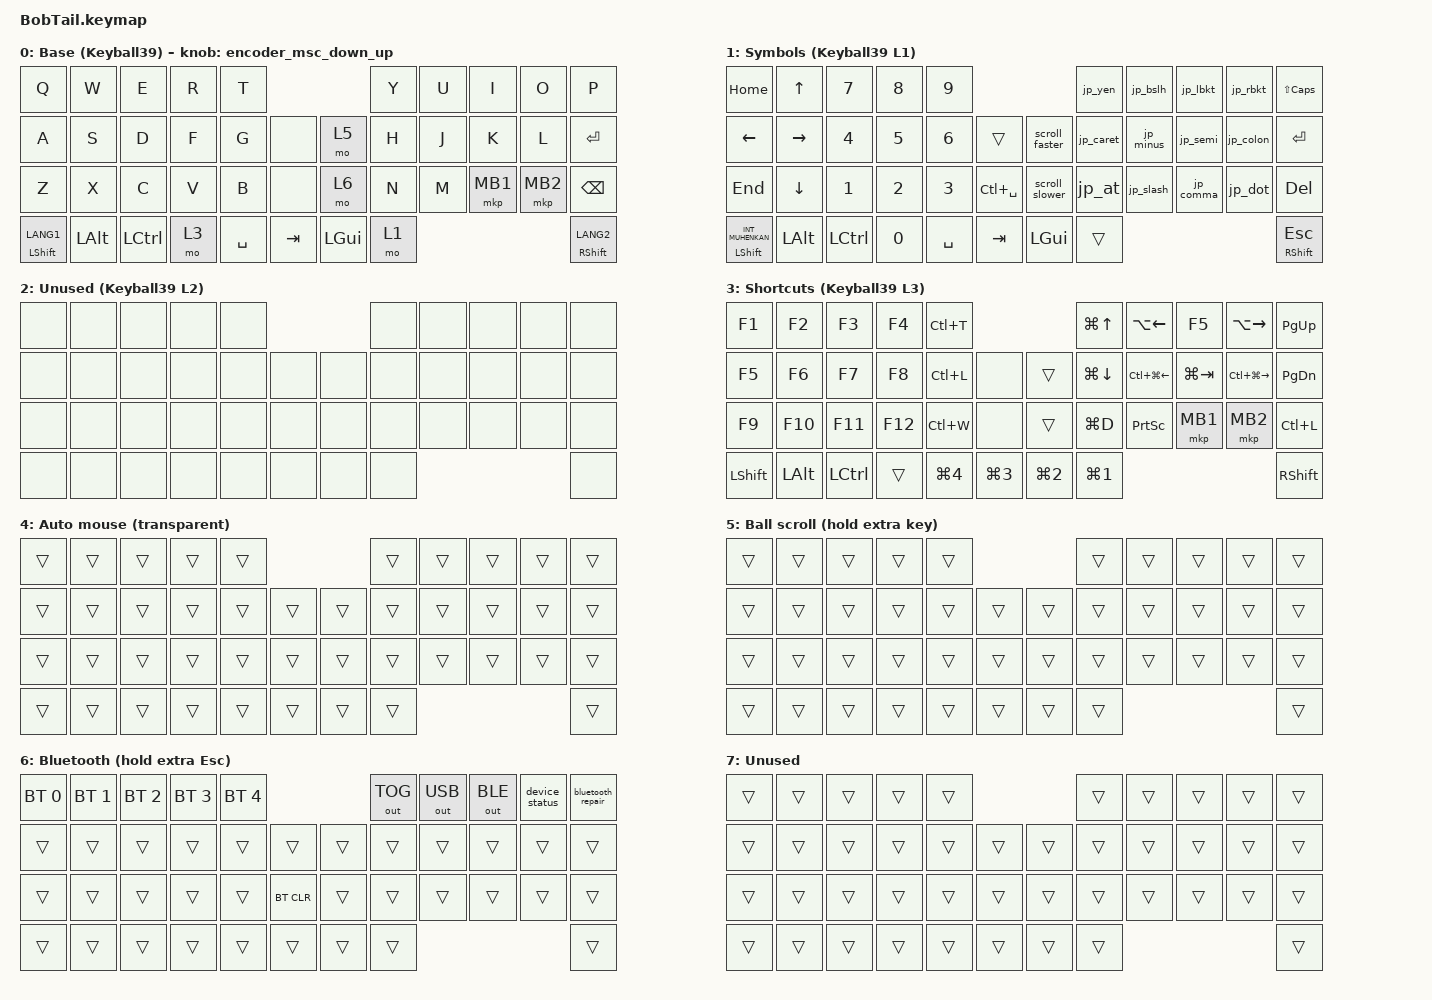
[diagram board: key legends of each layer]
#include <behaviors.dtsi>
#include <dt-bindings/zmk/bt.h>
#include <dt-bindings/zmk/keys.h>
#include <dt-bindings/zmk/outputs.h>
#include <dt-bindings/zmk/pointing.h>

#define ZMK_POINTING_DEFAULT_SCRL_VAL 80

&mt {
    // Thumb Shift keys: prefer holding when another key is pressed.

    flavor = "hold-preferred";
    tapping-term-ms = <200>;
    quick-tap-ms = <0>;
};

/ {
    // JIS symbols are named macros so Keymap Editor can select them.
    // Each macro holds its key until physical release (including OS repeat).

    macros {
        device_status: device_status {
            compatible = "zmk,behavior-macro";
            label = "Device Status Text";
            #binding-cells = <0>;
            wait-ms = <0>;
            tap-ms = <0>;
            bindings = <&device_diagnostics 0>;
        };

        bluetooth_repair: bluetooth_repair {
            compatible = "zmk,behavior-macro";
            label = "Re-pair Selected Bluetooth Slot";
            #binding-cells = <0>;
            wait-ms = <0>;
            tap-ms = <0>;
            bindings = <&device_diagnostics 2>;
        };

        scroll_faster: scroll_faster {
            compatible = "zmk,behavior-macro";
            label = "Ball Scroll Faster";
            #binding-cells = <0>;
            wait-ms = <0>;
            tap-ms = <0>;
            bindings = <&scroll_speed 1>;
        };

        scroll_slower: scroll_slower {
            compatible = "zmk,behavior-macro";
            label = "Ball Scroll Slower";
            #binding-cells = <0>;
            wait-ms = <0>;
            tap-ms = <0>;
            bindings = <&scroll_speed 0>;
        };

        jp_excl: JIS_EXCL {
            compatible = "zmk,behavior-macro";
            label = "JIS !";
            #binding-cells = <0>;
            wait-ms = <0>;
            tap-ms = <0>;
            bindings =
                <&macro_press>,
                <&kp LS(N1)>,
                <&macro_pause_for_release>,
                <&macro_release>,
                <&kp LS(N1)>;
        };

        jp_dqt: JIS_DQT {
            compatible = "zmk,behavior-macro";
            label = "JIS Double Quote";
            #binding-cells = <0>;
            wait-ms = <0>;
            tap-ms = <0>;
            bindings =
                <&macro_press>,
                <&kp LS(N2)>,
                <&macro_pause_for_release>,
                <&macro_release>,
                <&kp LS(N2)>;
        };

        jp_hash: JIS_HASH {
            compatible = "zmk,behavior-macro";
            label = "JIS #";
            #binding-cells = <0>;
            wait-ms = <0>;
            tap-ms = <0>;
            bindings =
                <&macro_press>,
                <&kp LS(N3)>,
                <&macro_pause_for_release>,
                <&macro_release>,
                <&kp LS(N3)>;
        };

        jp_dllr: JIS_DLLR {
            compatible = "zmk,behavior-macro";
            label = "JIS $";
            #binding-cells = <0>;
            wait-ms = <0>;
            tap-ms = <0>;
            bindings =
                <&macro_press>,
                <&kp LS(N4)>,
                <&macro_pause_for_release>,
                <&macro_release>,
                <&kp LS(N4)>;
        };

        jp_prcnt: JIS_PRCNT {
            compatible = "zmk,behavior-macro";
            label = "JIS %";
            #binding-cells = <0>;
            wait-ms = <0>;
            tap-ms = <0>;
            bindings =
                <&macro_press>,
                <&kp LS(N5)>,
                <&macro_pause_for_release>,
                <&macro_release>,
                <&kp LS(N5)>;
        };

        jp_amps: JIS_AMPS {
            compatible = "zmk,behavior-macro";
            label = "JIS &";
            #binding-cells = <0>;
            wait-ms = <0>;
            tap-ms = <0>;
            bindings =
                <&macro_press>,
                <&kp LS(N6)>,
                <&macro_pause_for_release>,
                <&macro_release>,
                <&kp LS(N6)>;
        };

        jp_sqt: JIS_SQT {
            compatible = "zmk,behavior-macro";
            label = "JIS '";
            #binding-cells = <0>;
            wait-ms = <0>;
            tap-ms = <0>;
            bindings =
                <&macro_press>,
                <&kp LS(N7)>,
                <&macro_pause_for_release>,
                <&macro_release>,
                <&kp LS(N7)>;
        };

        jp_lpar: JIS_LPAR {
            compatible = "zmk,behavior-macro";
            label = "JIS (";
            #binding-cells = <0>;
            wait-ms = <0>;
            tap-ms = <0>;
            bindings =
                <&macro_press>,
                <&kp LS(N8)>,
                <&macro_pause_for_release>,
                <&macro_release>,
                <&kp LS(N8)>;
        };

        jp_rpar: JIS_RPAR {
            compatible = "zmk,behavior-macro";
            label = "JIS )";
            #binding-cells = <0>;
            wait-ms = <0>;
            tap-ms = <0>;
            bindings =
                <&macro_press>,
                <&kp LS(N9)>,
                <&macro_pause_for_release>,
                <&macro_release>,
                <&kp LS(N9)>;
        };

        jp_astrk: JIS_ASTRK {
            compatible = "zmk,behavior-macro";
            label = "JIS *";
            #binding-cells = <0>;
            wait-ms = <0>;
            tap-ms = <0>;
            bindings =
                <&macro_press>,
                <&kp LS(SINGLE_QUOTE)>,
                <&macro_pause_for_release>,
                <&macro_release>,
                <&kp LS(SINGLE_QUOTE)>;
        };

        jp_plus: JIS_PLUS {
            compatible = "zmk,behavior-macro";
            label = "JIS +";
            #binding-cells = <0>;
            wait-ms = <0>;
            tap-ms = <0>;
            bindings =
                <&macro_press>,
                <&kp LS(SEMICOLON)>,
                <&macro_pause_for_release>,
                <&macro_release>,
                <&kp LS(SEMICOLON)>;
        };

        jp_comma: JIS_COMMA {
            compatible = "zmk,behavior-macro";
            label = "JIS ,";
            #binding-cells = <0>;
            wait-ms = <0>;
            tap-ms = <0>;
            bindings =
                <&macro_press>,
                <&kp COMMA>,
                <&macro_pause_for_release>,
                <&macro_release>,
                <&kp COMMA>;
        };

        jp_minus: JIS_MINUS {
            compatible = "zmk,behavior-macro";
            label = "JIS -";
            #binding-cells = <0>;
            wait-ms = <0>;
            tap-ms = <0>;
            bindings =
                <&macro_press>,
                <&kp MINUS>,
                <&macro_pause_for_release>,
                <&macro_release>,
                <&kp MINUS>;
        };

        jp_dot: JIS_DOT {
            compatible = "zmk,behavior-macro";
            label = "JIS .";
            #binding-cells = <0>;
            wait-ms = <0>;
            tap-ms = <0>;
            bindings =
                <&macro_press>,
                <&kp DOT>,
                <&macro_pause_for_release>,
                <&macro_release>,
                <&kp DOT>;
        };

        jp_slash: JIS_SLASH {
            compatible = "zmk,behavior-macro";
            label = "JIS /";
            #binding-cells = <0>;
            wait-ms = <0>;
            tap-ms = <0>;
            bindings =
                <&macro_press>,
                <&kp SLASH>,
                <&macro_pause_for_release>,
                <&macro_release>,
                <&kp SLASH>;
        };

        jp_colon: JIS_COLON {
            compatible = "zmk,behavior-macro";
            label = "JIS :";
            #binding-cells = <0>;
            wait-ms = <0>;
            tap-ms = <0>;
            bindings =
                <&macro_press>,
                <&kp SINGLE_QUOTE>,
                <&macro_pause_for_release>,
                <&macro_release>,
                <&kp SINGLE_QUOTE>;
        };

        jp_semi: JIS_SEMI {
            compatible = "zmk,behavior-macro";
            label = "JIS ;";
            #binding-cells = <0>;
            wait-ms = <0>;
            tap-ms = <0>;
            bindings =
                <&macro_press>,
                <&kp SEMICOLON>,
                <&macro_pause_for_release>,
                <&macro_release>,
                <&kp SEMICOLON>;
        };

        jp_lt: JIS_LT {
            compatible = "zmk,behavior-macro";
            label = "JIS <";
            #binding-cells = <0>;
            wait-ms = <0>;
            tap-ms = <0>;
            bindings =
                <&macro_press>,
                <&kp LS(COMMA)>,
                <&macro_pause_for_release>,
                <&macro_release>,
                <&kp LS(COMMA)>;
        };

        jp_equal: JIS_EQUAL {
            compatible = "zmk,behavior-macro";
            label = "JIS =";
            #binding-cells = <0>;
            wait-ms = <0>;
            tap-ms = <0>;
            bindings =
                <&macro_press>,
                <&kp LS(MINUS)>,
                <&macro_pause_for_release>,
                <&macro_release>,
                <&kp LS(MINUS)>;
        };

        jp_gt: JIS_GT {
            compatible = "zmk,behavior-macro";
            label = "JIS >";
            #binding-cells = <0>;
            wait-ms = <0>;
            tap-ms = <0>;
            bindings =
                <&macro_press>,
                <&kp LS(DOT)>,
                <&macro_pause_for_release>,
                <&macro_release>,
                <&kp LS(DOT)>;
        };

        jp_qmark: JIS_QMARK {
            compatible = "zmk,behavior-macro";
            label = "JIS ?";
            #binding-cells = <0>;
            wait-ms = <0>;
            tap-ms = <0>;
            bindings =
                <&macro_press>,
                <&kp LS(SLASH)>,
                <&macro_pause_for_release>,
                <&macro_release>,
                <&kp LS(SLASH)>;
        };

        jp_at: JIS_AT {
            compatible = "zmk,behavior-macro";
            label = "JIS @";
            #binding-cells = <0>;
            wait-ms = <0>;
            tap-ms = <0>;
            bindings =
                <&macro_press>,
                <&kp LEFT_BRACKET>,
                <&macro_pause_for_release>,
                <&macro_release>,
                <&kp LEFT_BRACKET>;
        };

        jp_lbkt: JIS_LBKT {
            compatible = "zmk,behavior-macro";
            label = "JIS [";
            #binding-cells = <0>;
            wait-ms = <0>;
            tap-ms = <0>;
            bindings =
                <&macro_press>,
                <&kp RIGHT_BRACKET>,
                <&macro_pause_for_release>,
                <&macro_release>,
                <&kp RIGHT_BRACKET>;
        };

        jp_bslh: JIS_BSLH {
            compatible = "zmk,behavior-macro";
            label = "JIS Backslash";
            #binding-cells = <0>;
            wait-ms = <0>;
            tap-ms = <0>;
            bindings =
                <&macro_press>,
                <&kp INT1>,
                <&macro_pause_for_release>,
                <&macro_release>,
                <&kp INT1>;
        };

        jp_rbkt: JIS_RBKT {
            compatible = "zmk,behavior-macro";
            label = "JIS ]";
            #binding-cells = <0>;
            wait-ms = <0>;
            tap-ms = <0>;
            bindings =
                <&macro_press>,
                <&kp NON_US_HASH>,
                <&macro_pause_for_release>,
                <&macro_release>,
                <&kp NON_US_HASH>;
        };

        jp_caret: JIS_CARET {
            compatible = "zmk,behavior-macro";
            label = "JIS ^";
            #binding-cells = <0>;
            wait-ms = <0>;
            tap-ms = <0>;
            bindings =
                <&macro_press>,
                <&kp EQUAL>,
                <&macro_pause_for_release>,
                <&macro_release>,
                <&kp EQUAL>;
        };

        jp_under: JIS_UNDER {
            compatible = "zmk,behavior-macro";
            label = "JIS _";
            #binding-cells = <0>;
            wait-ms = <0>;
            tap-ms = <0>;
            bindings =
                <&macro_press>,
                <&kp LS(INT1)>,
                <&macro_pause_for_release>,
                <&macro_release>,
                <&kp LS(INT1)>;
        };

        jp_grave: JIS_GRAVE {
            compatible = "zmk,behavior-macro";
            label = "JIS `";
            #binding-cells = <0>;
            wait-ms = <0>;
            tap-ms = <0>;
            bindings =
                <&macro_press>,
                <&kp LS(LEFT_BRACKET)>,
                <&macro_pause_for_release>,
                <&macro_release>,
                <&kp LS(LEFT_BRACKET)>;
        };

        jp_lbrc: JIS_LBRC {
            compatible = "zmk,behavior-macro";
            label = "JIS {";
            #binding-cells = <0>;
            wait-ms = <0>;
            tap-ms = <0>;
            bindings =
                <&macro_press>,
                <&kp LS(RIGHT_BRACKET)>,
                <&macro_pause_for_release>,
                <&macro_release>,
                <&kp LS(RIGHT_BRACKET)>;
        };

        jp_pipe: JIS_PIPE {
            compatible = "zmk,behavior-macro";
            label = "JIS |";
            #binding-cells = <0>;
            wait-ms = <0>;
            tap-ms = <0>;
            bindings =
                <&macro_press>,
                <&kp LS(INT3)>,
                <&macro_pause_for_release>,
                <&macro_release>,
                <&kp LS(INT3)>;
        };

        jp_rbrc: JIS_RBRC {
            compatible = "zmk,behavior-macro";
            label = "JIS }";
            #binding-cells = <0>;
            wait-ms = <0>;
            tap-ms = <0>;
            bindings =
                <&macro_press>,
                <&kp LS(NON_US_HASH)>,
                <&macro_pause_for_release>,
                <&macro_release>,
                <&kp LS(NON_US_HASH)>;
        };

        jp_tilde: JIS_TILDE {
            compatible = "zmk,behavior-macro";
            label = "JIS ~";
            #binding-cells = <0>;
            wait-ms = <0>;
            tap-ms = <0>;
            bindings =
                <&macro_press>,
                <&kp LS(EQUAL)>,
                <&macro_pause_for_release>,
                <&macro_release>,
                <&kp LS(EQUAL)>;
        };

        jp_yen: JIS_YEN {
            compatible = "zmk,behavior-macro";
            label = "JIS Yen";
            #binding-cells = <0>;
            wait-ms = <0>;
            tap-ms = <0>;
            bindings =
                <&macro_press>,
                <&kp INT3>,
                <&macro_pause_for_release>,
                <&macro_release>,
                <&kp INT3>;
        };

        jp_henkan: JIS_HENKAN {
            compatible = "zmk,behavior-macro";
            label = "JIS Henkan";
            #binding-cells = <0>;
            wait-ms = <0>;
            tap-ms = <0>;
            bindings =
                <&macro_press>,
                <&kp INT4>,
                <&macro_pause_for_release>,
                <&macro_release>,
                <&kp INT4>;
        };

        jp_muhenkan: JIS_MUHENKAN {
            compatible = "zmk,behavior-macro";
            label = "JIS Muhenkan";
            #binding-cells = <0>;
            wait-ms = <0>;
            tap-ms = <0>;
            bindings =
                <&macro_press>,
                <&kp INT5>,
                <&macro_pause_for_release>,
                <&macro_release>,
                <&kp INT5>;
        };

        jp_kana: JIS_KANA {
            compatible = "zmk,behavior-macro";
            label = "JIS Kana";
            #binding-cells = <0>;
            wait-ms = <0>;
            tap-ms = <0>;
            bindings =
                <&macro_press>,
                <&kp INT2>,
                <&macro_pause_for_release>,
                <&macro_release>,
                <&kp INT2>;
        };

        jp_zkhk: JIS_ZKHK {
            compatible = "zmk,behavior-macro";
            label = "JIS Zenkaku/Hankaku";
            #binding-cells = <0>;
            wait-ms = <0>;
            tap-ms = <0>;
            bindings =
                <&macro_press>,
                <&kp GRAVE>,
                <&macro_pause_for_release>,
                <&macro_release>,
                <&kp GRAVE>;
        };
    };

    behaviors {
        hold_ctrl_space: hold_ctrl_space {
            compatible = "zmk,behavior-hold-tap";
            label = "Hold Ctrl Space / Tap None";
            #binding-cells = <2>;
            flavor = "tap-preferred";
            tapping-term-ms = <200>;
            quick-tap-ms = <0>;
            bindings = <&kp>, <&none>;
        };

        device_diagnostics: device_diagnostics {
            compatible = "bobtail,behavior-device-diagnostics";
            label = "Device Diagnostics";
            #binding-cells = <1>;
        };

        scroll_speed: scroll_speed {
            compatible = "bobtail,behavior-scroll-speed";
            label = "Ball Scroll Speed";
            #binding-cells = <1>;
        };

        encoder_msc_down_up: encoder_msc_down_up {
            compatible = "zmk,behavior-sensor-rotate";
            label = "ENCODER_MSC_DOWN_UP";
            #sensor-binding-cells = <0>;
            bindings = <&msc SCRL_UP>, <&msc SCRL_DOWN>;

            tap-ms = <20>;
        };
    };

    keymap {
        compatible = "zmk,keymap";

        default_layer {
            display-name = "Base (Keyball39)";
            bindings = <
&kp Q             &kp W     &kp E      &kp R  &kp T                             &kp Y  &kp U  &kp I     &kp O     &kp P
&kp A             &kp S     &kp D      &kp F  &kp G      &none        &mo 5     &kp H  &kp J  &kp K     &kp L     &kp ENTER
&kp Z             &kp X     &kp C      &kp V  &kp B      &none        &mo 6     &kp N  &kp M  &mkp MB1  &mkp MB2  &kp BACKSPACE
&mt LSHIFT LANG1  &kp LALT  &kp LCTRL  &mo 3  &kp SPACE  &kp TAB      &kp LGUI  &mo 1                             &mt RSHIFT LANG2
            >;

            sensor-bindings = <&encoder_msc_down_up>;
        };

        symbols_layer {
            display-name = "Symbols (Keyball39 L1)";
            bindings = <
&kp HOME                 &kp UP     &kp N7     &kp N8  &kp N9                                        &jp_yen    &jp_bslh   &jp_lbkt   &jp_rbkt   &kp LS(CAPSLOCK)
&kp LEFT                 &kp RIGHT  &kp N4     &kp N5  &kp N6     &trans             &scroll_faster  &jp_caret  &jp_minus  &jp_semi   &jp_colon  &kp ENTER
&kp END                  &kp DOWN   &kp N1     &kp N2  &kp N3     &kp LC(SPACE)      &scroll_slower  &jp_at     &jp_slash  &jp_comma  &jp_dot    &kp DELETE
&mt LSHIFT INT_MUHENKAN  &kp LALT   &kp LCTRL  &kp N0  &kp SPACE  &kp TAB            &kp LGUI        &trans                                      &mt RSHIFT ESC
            >;
        };

        unused_layer_2 {
            display-name = "Unused (Keyball39 L2)";
            bindings = <
&none  &none  &none  &none  &none                    &none  &none  &none  &none  &none
&none  &none  &none  &none  &none  &none      &none  &none  &none  &none  &none  &none
&none  &none  &none  &none  &none  &none      &none  &none  &none  &none  &none  &none
&none  &none  &none  &none  &none  &none      &none  &none                       &none
            >;
        };

        shortcuts_layer {
            display-name = "Shortcuts (Keyball39 L3)";
            bindings = <
&kp F1      &kp F2    &kp F3     &kp F4   &kp LC(T)                               &kp LG(UP)    &kp LA(LEFT)      &kp F5       &kp LA(RIGHT)      &kp PAGE_UP
&kp F5      &kp F6    &kp F7     &kp F8   &kp LC(L)   &none           &trans      &kp LG(DOWN)  &kp LC(LG(LEFT))  &kp LG(TAB)  &kp LC(LG(RIGHT))  &kp PAGE_DOWN
&kp F9      &kp F10   &kp F11    &kp F12  &kp LC(W)   &none           &trans      &kp LG(D)     &kp PRINTSCREEN   &mkp MB1     &mkp MB2           &kp LC(L)
&kp LSHIFT  &kp LALT  &kp LCTRL  &trans   &kp LG(N4)  &kp LG(N3)      &kp LG(N2)  &kp LG(N1)                                                      &kp RSHIFT
            >;
        };

        automouse_layer {
            display-name = "Auto mouse (transparent)";
            bindings = <
&trans  &trans  &trans  &trans  &trans                      &trans  &trans  &trans  &trans  &trans
&trans  &trans  &trans  &trans  &trans  &trans      &trans  &trans  &trans  &trans  &trans  &trans
&trans  &trans  &trans  &trans  &trans  &trans      &trans  &trans  &trans  &trans  &trans  &trans
&trans  &trans  &trans  &trans  &trans  &trans      &trans  &trans                          &trans
            >;
        };

        scroll_layer {
            display-name = "Ball scroll (hold extra key)";
            bindings = <
&trans  &trans  &trans  &trans  &trans                      &trans  &trans  &trans  &trans  &trans
&trans  &trans  &trans  &trans  &trans  &trans      &trans  &trans  &trans  &trans  &trans  &trans
&trans  &trans  &trans  &trans  &trans  &trans      &trans  &trans  &trans  &trans  &trans  &trans
&trans  &trans  &trans  &trans  &trans  &trans      &trans  &trans                          &trans
            >;
        };

        bluetooth_layer {
            display-name = "Bluetooth (hold extra Esc)";
            bindings = <
&bt BT_SEL 0  &bt BT_SEL 1  &bt BT_SEL 2  &bt BT_SEL 3  &bt BT_SEL 4                          &out OUT_TOG  &out OUT_USB  &out OUT_BLE  &device_status  &bluetooth_repair
&trans        &trans        &trans        &trans        &trans        &trans          &trans  &trans        &trans        &trans        &trans          &trans
&trans        &trans        &trans        &trans        &trans        &bt BT_CLR      &trans  &trans        &trans        &trans        &trans          &trans
&trans        &trans        &trans        &trans        &trans        &trans          &trans  &trans                                                    &trans
            >;
        };

        unused_layer_7 {
            display-name = "Unused";
            bindings = <
&trans  &trans  &trans  &trans  &trans                      &trans  &trans  &trans  &trans  &trans
&trans  &trans  &trans  &trans  &trans  &trans      &trans  &trans  &trans  &trans  &trans  &trans
&trans  &trans  &trans  &trans  &trans  &trans      &trans  &trans  &trans  &trans  &trans  &trans
&trans  &trans  &trans  &trans  &trans  &trans      &trans  &trans                          &trans
            >;
        };
    };
};
